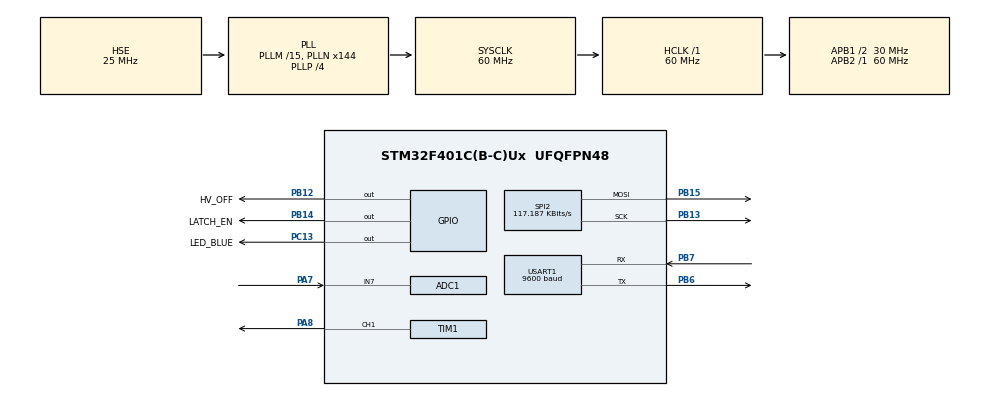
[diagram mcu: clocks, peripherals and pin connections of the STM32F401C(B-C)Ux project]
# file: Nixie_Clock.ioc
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ADC1.Channel-0\#ChannelRegularConversion=ADC_CHANNEL_7
ADC1.NbrOfConversionFlag=1
ADC1.Rank-0\#ChannelRegularConversion=1
ADC1.SamplingTime-0\#ChannelRegularConversion=ADC_SAMPLETIME_3CYCLES
ADC1.master=1
Dma.Request0=USART1_RX
Dma.USART1_RX.0.Direction=DMA_PERIPH_TO_MEMORY
Dma.USART1_RX.0.FIFOMode=DMA_FIFOMODE_DISABLE
Dma.USART1_RX.0.Instance=DMA2_Stream2
Dma.USART1_RX.0.MemDataAlignment=DMA_MDATAALIGN_BYTE
Dma.USART1_RX.0.MemInc=DMA_MINC_ENABLE
Dma.USART1_RX.0.Mode=DMA_NORMAL
Dma.USART1_RX.0.PeriphDataAlignment=DMA_PDATAALIGN_BYTE
Dma.USART1_RX.0.PeriphInc=DMA_PINC_DISABLE
Dma.USART1_RX.0.Priority=DMA_PRIORITY_LOW
Mcu.Family=STM32F4
Mcu.Name=STM32F401C(B-C)Ux
Mcu.Package=UFQFPN48
NVIC.DMA2_Stream2_IRQn=true\:2\:0\:true\:false\:true\:false\:true\:true
NVIC.PriorityGroup=NVIC_PRIORITYGROUP_4
NVIC.RCC_IRQn=true\:0\:0\:false\:false\:true\:true\:false\:true
NVIC.SPI2_IRQn=true\:3\:0\:true\:false\:true\:true\:true\:true
NVIC.TIM1_TRG_COM_TIM11_IRQn=true\:4\:0\:true\:false\:true\:true\:true\:true
NVIC.USART1_IRQn=true\:2\:0\:true\:false\:true\:true\:true\:true
PA7.Signal=ADCx_IN7
PA8.Signal=S_TIM1_CH1
PB12.GPIO_Label=HV_OFF
PB12.Signal=GPIO_Output
PB13.Mode=TX_Only_Simplex_Unidirect_Master
PB13.Signal=SPI2_SCK
PB14.GPIO_Label=LATCH_EN
PB14.Signal=GPIO_Output
PB15.Mode=TX_Only_Simplex_Unidirect_Master
PB15.Signal=SPI2_MOSI
PB6.Mode=Asynchronous
PB6.Signal=USART1_TX
PB7.Mode=Asynchronous
PB7.Signal=USART1_RX
PC13-ANTI_TAMP.GPIO_Label=LED_BLUE
PC13-ANTI_TAMP.Signal=GPIO_Output
PC14-OSC32_IN.Mode=LSE-External-Oscillator
PC14-OSC32_IN.Signal=RCC_OSC32_IN
PC15-OSC32_OUT.Mode=LSE-External-Oscillator
PC15-OSC32_OUT.Signal=RCC_OSC32_OUT
PH0\ -\ OSC_IN.Mode=HSE-External-Oscillator
PH0\ -\ OSC_IN.Signal=RCC_OSC_IN
PH1\ -\ OSC_OUT.Mode=HSE-External-Oscillator
PH1\ -\ OSC_OUT.Signal=RCC_OSC_OUT
ProjectManager.HeapSize=0x800
ProjectManager.StackSize=0x800
ProjectManager.TargetToolchain=STM32CubeIDE
RCC.48MHZClocksFreq_Value=48000000
RCC.AHBFreq_Value=60000000
RCC.APB1CLKDivider=RCC_HCLK_DIV2
RCC.APB1Freq_Value=30000000
RCC.APB1TimFreq_Value=60000000
RCC.APB2Freq_Value=60000000
RCC.APB2TimFreq_Value=60000000
RCC.CortexFreq_Value=60000000
RCC.HCLKFreq_Value=60000000
RCC.HSE_VALUE=25000000
RCC.HSI_VALUE=16000000
RCC.PLLM=15
RCC.PLLN=144
RCC.PLLP=RCC_PLLP_DIV4
RCC.PLLQ=5
RCC.PLLSourceVirtual=RCC_PLLSOURCE_HSE
RCC.RCC_RTC_Clock_Source=RCC_RTCCLKSOURCE_LSE
RCC.RCC_RTC_Clock_SourceVirtual=RCC_RTCCLKSOURCE_LSE
RCC.SYSCLKFreq_VALUE=60000000
RCC.SYSCLKSource=RCC_SYSCLKSOURCE_PLLCLK
RCC.VCOOutputFreq_Value=240000000
RTC.Format=RTC_FORMAT_BCD
RTC.Hours=1
RTC.Minutes=2
RTC.Seconds=1
SH.ADCx_IN7.0=ADC1_IN7,IN7
SH.S_TIM1_CH1.0=TIM1_CH1,PWM Generation1 CH1
SPI2.BaudRatePrescaler=SPI_BAUDRATEPRESCALER_256
SPI2.CLKPhase=SPI_PHASE_1EDGE
SPI2.CalculateBaudRate=117.187 KBits/s
SPI2.Direction=SPI_DIRECTION_2LINES
SPI2.Mode=SPI_MODE_MASTER
SPI2.VirtualType=VM_MASTER
TIM1.Channel-PWM\ Generation1\ CH1=TIM_CHANNEL_1
TIM1.OCPolarity_1=TIM_OCPOLARITY_HIGH
TIM1.Period=100-1
TIM1.Prescaler=30-1
TIM11.Period=40 - 1
TIM11.Prescaler=60000 - 1
USART1.BaudRate=9600
USART1.StopBits=STOPBITS_1
USART1.VirtualMode=VM_ASYNC
VP_RTC_VS_RTC_Activate.Mode=RTC_Enabled
VP_RTC_VS_RTC_Calendar.Mode=RTC_Calendar
VP_TIM11_VS_ClockSourceINT.Mode=Enable_Timer
VP_TIM1_VS_ClockSourceINT.Mode=Internal
board=custom

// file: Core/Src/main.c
/* USER CODE BEGIN Header */
/**
  ******************************************************************************
  * @file           : main.c
  * @brief          : Main program body
  ******************************************************************************
  * @attention
  *
  * Copyright (c) 2023 STMicroelectronics.
  * All rights reserved.
  *
  * This software is licensed under terms that can be found in the LICENSE file
  * in the root directory of this software component.
  * If no LICENSE file comes with this software, it is provided AS-IS.
  *
  ******************************************************************************
  */
/* USER CODE END Header */
#include "main.h"

/* USER CODE BEGIN Includes */
#include "time.h"

/* USER CODE END Includes */

ADC_HandleTypeDef hadc1;

RTC_HandleTypeDef hrtc;

SPI_HandleTypeDef hspi2;

TIM_HandleTypeDef htim1;
TIM_HandleTypeDef htim11;

UART_HandleTypeDef huart1;
DMA_HandleTypeDef hdma_usart1_rx;

void SystemClock_Config(void);
static void MX_GPIO_Init(void);
static void MX_DMA_Init(void);
static void MX_USART1_UART_Init(void);
static void MX_RTC_Init(void);
static void MX_SPI2_Init(void);
static void MX_TIM1_Init(void);
static void MX_ADC1_Init(void);
static void MX_TIM11_Init(void);
/* USER CODE BEGIN PFP */
void add_valid_line(void);
void remove_valid_line(void);

/* USER CODE END PFP */

int main(void)
{

  /* MCU Configuration--------------------------------------------------------*/

  /* Reset of all peripherals, Initializes the Flash interface and the Systick. */
  HAL_Init();

  /* Configure the system clock */
  SystemClock_Config();

  /* Initialize all configured peripherals */
  MX_GPIO_Init();
  MX_DMA_Init();
  MX_USART1_UART_Init();
  MX_RTC_Init();
  MX_SPI2_Init();
  MX_TIM1_Init();
  MX_ADC1_Init();
  MX_TIM11_Init();
  /* USER CODE BEGIN 2 */

  // Initialize the GPS system.
  GPS_Init(&huart1, &hdma_usart1_rx);
  // Initialize the Vfd display.
  Vfd_init(&hspi2, &htim1, TIM_CHANNEL_1);
  // Start the GPS system
  GPS_Start();

  // Startup procedure
  // Turn-on the HV
  Vfd_enable_Filament();
  // Set Vfd brightness to 100%
  Vfd_set_brightness(100);
  // Wait for 2 seconds for the display to reach operating conditions
  HAL_Delay(2000);
  // Turn on all segments
  Vfd_update_display(88, 88, 88);
  // Wait for 2 seconds for the display to reach operating conditions
  HAL_Delay(2000);
  // From now on operate normally
  // Launch the TIM11 as interrupt. Used to update the Vfd display
  HAL_TIM_Base_Start_IT(&htim11);

  /* USER CODE END 2 */

  /* Infinite loop */
  while (1)
  {

    /* USER CODE BEGIN 3 */

    // Continuosly update the GPS data.
    GPS_Update_Data();

    GPS_datetime_struct_t GPS_data;
    GPS_data = GPS_Read_Datetime();
    if (GPS_data.valid == 1) {
      //sprintf(current_time_str, "The current date/time is: %s\r\n", ctime(&GPS_data.unixtime));
      //CDC_Transmit_FS(current_time_str, strlen(current_time_str));
    } else {
      //CDC_Transmit_FS("GPS-TIME Invalid\r\n", strlen("GPS-TIME Invalid\r\n"));
    }

    HAL_Delay(500);
  }
  /* USER CODE END 3 */
}

void SystemClock_Config(void)
{
  RCC_OscInitTypeDef RCC_OscInitStruct = {0};
  RCC_ClkInitTypeDef RCC_ClkInitStruct = {0};

  /** Configure the main internal regulator output voltage
  */
  __HAL_RCC_PWR_CLK_ENABLE();
  __HAL_PWR_VOLTAGESCALING_CONFIG(PWR_REGULATOR_VOLTAGE_SCALE2);

  /** Initializes the RCC Oscillators according to the specified parameters
  * in the RCC_OscInitTypeDef structure.
  */
  RCC_OscInitStruct.OscillatorType = RCC_OSCILLATORTYPE_HSE|RCC_OSCILLATORTYPE_LSE;
  RCC_OscInitStruct.HSEState = RCC_HSE_ON;
  RCC_OscInitStruct.LSEState = RCC_LSE_ON;
  RCC_OscInitStruct.PLL.PLLState = RCC_PLL_ON;
  RCC_OscInitStruct.PLL.PLLSource = RCC_PLLSOURCE_HSE;
  RCC_OscInitStruct.PLL.PLLM = 15;
  RCC_OscInitStruct.PLL.PLLN = 144;
  RCC_OscInitStruct.PLL.PLLP = RCC_PLLP_DIV4;
  RCC_OscInitStruct.PLL.PLLQ = 5;
  if (HAL_RCC_OscConfig(&RCC_OscInitStruct) != HAL_OK)
  {
    Error_Handler();
  }

  /** Initializes the CPU, AHB and APB buses clocks
  */
  RCC_ClkInitStruct.ClockType = RCC_CLOCKTYPE_HCLK|RCC_CLOCKTYPE_SYSCLK
                              |RCC_CLOCKTYPE_PCLK1|RCC_CLOCKTYPE_PCLK2;
  RCC_ClkInitStruct.SYSCLKSource = RCC_SYSCLKSOURCE_PLLCLK;
  RCC_ClkInitStruct.AHBCLKDivider = RCC_SYSCLK_DIV1;
  RCC_ClkInitStruct.APB1CLKDivider = RCC_HCLK_DIV2;
  RCC_ClkInitStruct.APB2CLKDivider = RCC_HCLK_DIV1;

  if (HAL_RCC_ClockConfig(&RCC_ClkInitStruct, FLASH_LATENCY_1) != HAL_OK)
  {
    Error_Handler();
  }
}

static void MX_ADC1_Init(void)
{

  ADC_ChannelConfTypeDef sConfig = {0};

  /** Configure the global features of the ADC (Clock, Resolution, Data Alignment and number of conversion)
  */
  hadc1.Instance = ADC1;
  hadc1.Init.ClockPrescaler = ADC_CLOCK_SYNC_PCLK_DIV2;
  hadc1.Init.Resolution = ADC_RESOLUTION_12B;
  hadc1.Init.ScanConvMode = DISABLE;
  hadc1.Init.ContinuousConvMode = DISABLE;
  hadc1.Init.DiscontinuousConvMode = DISABLE;
  hadc1.Init.ExternalTrigConvEdge = ADC_EXTERNALTRIGCONVEDGE_NONE;
  hadc1.Init.ExternalTrigConv = ADC_SOFTWARE_START;
  hadc1.Init.DataAlign = ADC_DATAALIGN_RIGHT;
  hadc1.Init.NbrOfConversion = 1;
  hadc1.Init.DMAContinuousRequests = DISABLE;
  hadc1.Init.EOCSelection = ADC_EOC_SINGLE_CONV;
  if (HAL_ADC_Init(&hadc1) != HAL_OK)
  {
    Error_Handler();
  }

  /** Configure for the selected ADC regular channel its corresponding rank in the sequencer and its sample time.
  */
  sConfig.Channel = ADC_CHANNEL_7;
  sConfig.Rank = 1;
  sConfig.SamplingTime = ADC_SAMPLETIME_3CYCLES;
  if (HAL_ADC_ConfigChannel(&hadc1, &sConfig) != HAL_OK)
  {
    Error_Handler();
  }

}

static void MX_RTC_Init(void)
{

  RTC_TimeTypeDef sTime = {0};
  RTC_DateTypeDef sDate = {0};

  /** Initialize RTC Only
  */
  hrtc.Instance = RTC;
  hrtc.Init.HourFormat = RTC_HOURFORMAT_24;
  hrtc.Init.AsynchPrediv = 127;
  hrtc.Init.SynchPrediv = 255;
  hrtc.Init.OutPut = RTC_OUTPUT_DISABLE;
  hrtc.Init.OutPutPolarity = RTC_OUTPUT_POLARITY_HIGH;
  hrtc.Init.OutPutType = RTC_OUTPUT_TYPE_OPENDRAIN;
  if (HAL_RTC_Init(&hrtc) != HAL_OK)
  {
    Error_Handler();
  }

  /* USER CODE BEGIN Check_RTC_BKUP */
   if(HAL_RTCEx_BKUPRead(&hrtc, RTC_BKP_DR0) != 0x32F2)
  {

  /* USER CODE END Check_RTC_BKUP */

  /** Initialize RTC and set the Time and Date
  */
  sTime.Hours = 0x1;
  sTime.Minutes = 0x2;
  sTime.Seconds = 0x1;
  sTime.DayLightSaving = RTC_DAYLIGHTSAVING_NONE;
  sTime.StoreOperation = RTC_STOREOPERATION_RESET;
  if (HAL_RTC_SetTime(&hrtc, &sTime, RTC_FORMAT_BCD) != HAL_OK)
  {
    Error_Handler();
  }
  sDate.WeekDay = RTC_WEEKDAY_MONDAY;
  sDate.Month = RTC_MONTH_JANUARY;
  sDate.Date = 0x1;
  sDate.Year = 0x0;

  if (HAL_RTC_SetDate(&hrtc, &sDate, RTC_FORMAT_BCD) != HAL_OK)
  {
    Error_Handler();
  }
  /* USER CODE BEGIN RTC_Init 2 */
	  HAL_RTCEx_BKUPWrite(&hrtc,RTC_BKP_DR0,0x32F2);
  }

  /* USER CODE END RTC_Init 2 */

}

static void MX_SPI2_Init(void)
{

  /* SPI2 parameter configuration*/
  hspi2.Instance = SPI2;
  hspi2.Init.Mode = SPI_MODE_MASTER;
  hspi2.Init.Direction = SPI_DIRECTION_2LINES;
  hspi2.Init.DataSize = SPI_DATASIZE_8BIT;
  hspi2.Init.CLKPolarity = SPI_POLARITY_LOW;
  hspi2.Init.CLKPhase = SPI_PHASE_1EDGE;
  hspi2.Init.NSS = SPI_NSS_SOFT;
  hspi2.Init.BaudRatePrescaler = SPI_BAUDRATEPRESCALER_256;
  hspi2.Init.FirstBit = SPI_FIRSTBIT_MSB;
  hspi2.Init.TIMode = SPI_TIMODE_DISABLE;
  hspi2.Init.CRCCalculation = SPI_CRCCALCULATION_DISABLE;
  hspi2.Init.CRCPolynomial = 10;
  if (HAL_SPI_Init(&hspi2) != HAL_OK)
  {
    Error_Handler();
  }

}

static void MX_TIM1_Init(void)
{

  TIM_ClockConfigTypeDef sClockSourceConfig = {0};
  TIM_MasterConfigTypeDef sMasterConfig = {0};
  TIM_OC_InitTypeDef sConfigOC = {0};
  TIM_BreakDeadTimeConfigTypeDef sBreakDeadTimeConfig = {0};

  htim1.Instance = TIM1;
  htim1.Init.Prescaler = 30-1;
  htim1.Init.CounterMode = TIM_COUNTERMODE_UP;
  htim1.Init.Period = 100-1;
  htim1.Init.ClockDivision = TIM_CLOCKDIVISION_DIV1;
  htim1.Init.RepetitionCounter = 0;
  htim1.Init.AutoReloadPreload = TIM_AUTORELOAD_PRELOAD_DISABLE;
  if (HAL_TIM_Base_Init(&htim1) != HAL_OK)
  {
    Error_Handler();
  }
  sClockSourceConfig.ClockSource = TIM_CLOCKSOURCE_INTERNAL;
  if (HAL_TIM_ConfigClockSource(&htim1, &sClockSourceConfig) != HAL_OK)
  {
    Error_Handler();
  }
  if (HAL_TIM_PWM_Init(&htim1) != HAL_OK)
  {
    Error_Handler();
  }
  sMasterConfig.MasterOutputTrigger = TIM_TRGO_RESET;
  sMasterConfig.MasterSlaveMode = TIM_MASTERSLAVEMODE_DISABLE;
  if (HAL_TIMEx_MasterConfigSynchronization(&htim1, &sMasterConfig) != HAL_OK)
  {
    Error_Handler();
  }
  sConfigOC.OCMode = TIM_OCMODE_PWM1;
  sConfigOC.Pulse = 0;
  sConfigOC.OCPolarity = TIM_OCPOLARITY_HIGH;
  sConfigOC.OCNPolarity = TIM_OCNPOLARITY_HIGH;
  sConfigOC.OCFastMode = TIM_OCFAST_DISABLE;
  sConfigOC.OCIdleState = TIM_OCIDLESTATE_RESET;
  sConfigOC.OCNIdleState = TIM_OCNIDLESTATE_RESET;
  if (HAL_TIM_PWM_ConfigChannel(&htim1, &sConfigOC, TIM_CHANNEL_1) != HAL_OK)
  {
    Error_Handler();
  }
  sBreakDeadTimeConfig.OffStateRunMode = TIM_OSSR_DISABLE;
  sBreakDeadTimeConfig.OffStateIDLEMode = TIM_OSSI_DISABLE;
  sBreakDeadTimeConfig.LockLevel = TIM_LOCKLEVEL_OFF;
  sBreakDeadTimeConfig.DeadTime = 0;
  sBreakDeadTimeConfig.BreakState = TIM_BREAK_DISABLE;
  sBreakDeadTimeConfig.BreakPolarity = TIM_BREAKPOLARITY_HIGH;
  sBreakDeadTimeConfig.AutomaticOutput = TIM_AUTOMATICOUTPUT_DISABLE;
  if (HAL_TIMEx_ConfigBreakDeadTime(&htim1, &sBreakDeadTimeConfig) != HAL_OK)
  {
    Error_Handler();
  }
  HAL_TIM_MspPostInit(&htim1);

}

static void MX_TIM11_Init(void)
{

  htim11.Instance = TIM11;
  htim11.Init.Prescaler = 60000 - 1;
  htim11.Init.CounterMode = TIM_COUNTERMODE_UP;
  htim11.Init.Period = 40 - 1;
  htim11.Init.ClockDivision = TIM_CLOCKDIVISION_DIV1;
  htim11.Init.AutoReloadPreload = TIM_AUTORELOAD_PRELOAD_DISABLE;
  if (HAL_TIM_Base_Init(&htim11) != HAL_OK)
  {
    Error_Handler();
  }

}

static void MX_USART1_UART_Init(void)
{

  huart1.Instance = USART1;
  huart1.Init.BaudRate = 9600;
  huart1.Init.WordLength = UART_WORDLENGTH_8B;
  huart1.Init.StopBits = UART_STOPBITS_1;
  huart1.Init.Parity = UART_PARITY_NONE;
  huart1.Init.Mode = UART_MODE_TX_RX;
  huart1.Init.HwFlowCtl = UART_HWCONTROL_NONE;
  huart1.Init.OverSampling = UART_OVERSAMPLING_16;
  if (HAL_UART_Init(&huart1) != HAL_OK)
  {
    Error_Handler();
  }

}

static void MX_DMA_Init(void)
{

  /* DMA controller clock enable */
  __HAL_RCC_DMA2_CLK_ENABLE();

  /* DMA interrupt init */
  /* DMA2_Stream2_IRQn interrupt configuration */
  HAL_NVIC_SetPriority(DMA2_Stream2_IRQn, 2, 0);
  HAL_NVIC_EnableIRQ(DMA2_Stream2_IRQn);

}

static void MX_GPIO_Init(void)
{
  GPIO_InitTypeDef GPIO_InitStruct = {0};

  /* GPIO Ports Clock Enable */
  __HAL_RCC_GPIOC_CLK_ENABLE();
  __HAL_RCC_GPIOH_CLK_ENABLE();
  __HAL_RCC_GPIOA_CLK_ENABLE();
  __HAL_RCC_GPIOB_CLK_ENABLE();

  /*Configure GPIO pin Output Level */
  HAL_GPIO_WritePin(LED_BLUE_GPIO_Port, LED_BLUE_Pin, GPIO_PIN_RESET);

  /*Configure GPIO pin Output Level */
  HAL_GPIO_WritePin(GPIOB, HV_OFF_Pin|LATCH_EN_Pin, GPIO_PIN_RESET);

  /*Configure GPIO pin : LED_BLUE_Pin */
  GPIO_InitStruct.Pin = LED_BLUE_Pin;
  GPIO_InitStruct.Mode = GPIO_MODE_OUTPUT_PP;
  GPIO_InitStruct.Pull = GPIO_NOPULL;
  GPIO_InitStruct.Speed = GPIO_SPEED_FREQ_LOW;
  HAL_GPIO_Init(LED_BLUE_GPIO_Port, &GPIO_InitStruct);

  /*Configure GPIO pins : HV_OFF_Pin LATCH_EN_Pin */
  GPIO_InitStruct.Pin = HV_OFF_Pin|LATCH_EN_Pin;
  GPIO_InitStruct.Mode = GPIO_MODE_OUTPUT_PP;
  GPIO_InitStruct.Pull = GPIO_NOPULL;
  GPIO_InitStruct.Speed = GPIO_SPEED_FREQ_LOW;
  HAL_GPIO_Init(GPIOB, &GPIO_InitStruct);

}

/* USER CODE BEGIN 4 */
// Update display callback
void HAL_TIM_PeriodElapsedCallback(TIM_HandleTypeDef *htim)
{
  // Check which version of the timer triggered this callback and toggle LED

  if (htim == &htim11 )
  {
    // Variables
    uint8_t value_h, value_m, value_s = 0;
    GPS_RTC_update_t  GPS_RTC_update;
    Vfd_mode_enum_t Vfd_mode;
    RTC_TimeTypeDef sTime;
    RTC_DateTypeDef sDate;

    // Check if RTC should be updated
    GPS_RTC_update = GPS_RTC_check_update();

    if (GPS_RTC_update == NEEDED) {
      GPS_datetime_struct_t GPS_data;
      // Get GPS Datetime info
      GPS_data = GPS_Read_Datetime();
      if (GPS_data.valid == 1) {
        // Set the RTC time and date
        HAL_RTC_SetTime(&hrtc, &(GPS_data.time), RTC_FORMAT_BIN);
        HAL_RTC_SetDate(&hrtc, &(GPS_data.date), RTC_FORMAT_BIN);
      }
    }

    // Get the time and date from RTC
    HAL_RTC_GetTime(&hrtc, &sTime, RTC_FORMAT_BIN);
    HAL_RTC_GetDate(&hrtc, &sDate, RTC_FORMAT_BIN);
    // Apply timezone and DST
    Apply_timezone_dst(&sTime, &sDate);
    // Extract hours, minutes and seconds
    value_h = sTime.Hours;
    value_m = sTime.Minutes;
    value_s = sTime.Seconds;
    // Compute the brigthness
    if (value_h < 7 || value_h >= 23) {
      Vfd_set_brightness(35);
    } else {
      Vfd_set_brightness(100);
    }

    // Check the mode for Vfd display.
    Vfd_mode = Vfd_get_mode();

    if (Vfd_mode != NORMAL) {
      // Get Random values otherwise
      Vfd_get_random(&value_h, &value_m, &value_s);
    }
    // Update the Vfd Display
    Vfd_update_display(value_h, value_m, value_s);
  }

}

/* USER CODE END 4 */

void Error_Handler(void)
{
  __disable_irq();
  while (1)
  {
  }
}
